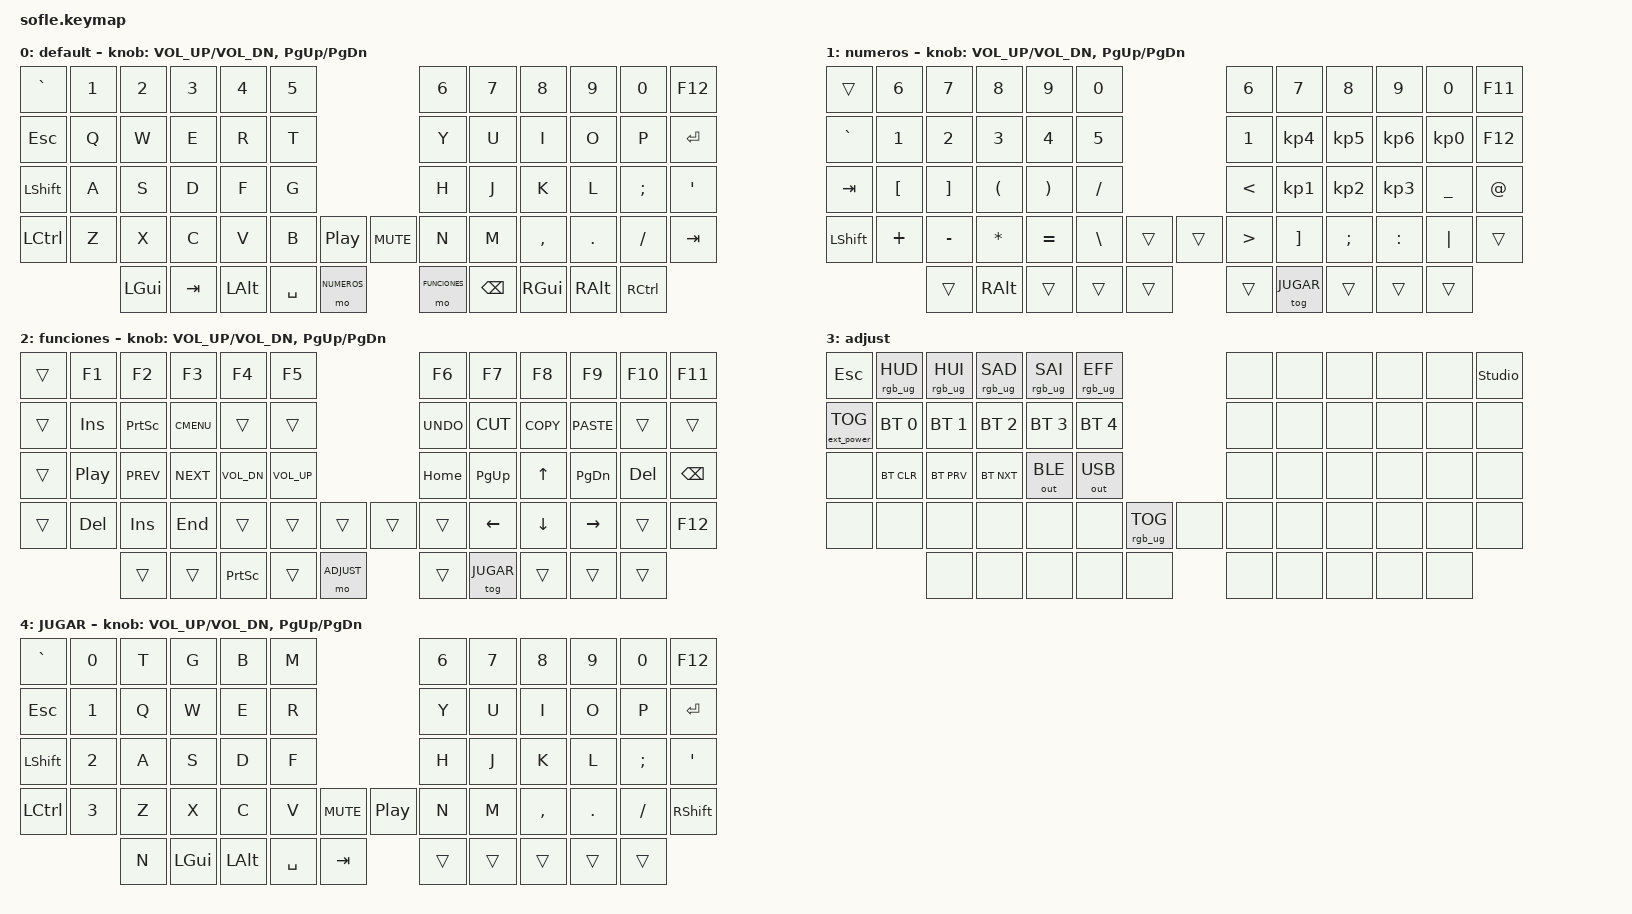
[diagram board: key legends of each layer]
/*
 * Copyright (c) 2020 The ZMK Contributors
 *
 * SPDX-License-Identifier: MIT
 */

#include <behaviors.dtsi>
#include <dt-bindings/zmk/keys.h>
#include <dt-bindings/zmk/bt.h>
#include <dt-bindings/zmk/rgb.h>
#include <dt-bindings/zmk/ext_power.h>
#include <dt-bindings/zmk/outputs.h>

#define BASE 0
#define NUMEROS 1
#define FUNCIONES 2
#define ADJUST 3
#define JUGAR 4

/ {

   // Activate ADJUST layer by pressing raise and lower
    conditional_layers {
        compatible = "zmk,conditional-layers";
        adjust_layer {
            if-layers = <NUMEROS FUNCIONES>;
            then-layer = <ADJUST>;
        };
    };

    keymap {
        compatible = "zmk,keymap";

        default_layer {
            display-name = "default";
// ------------------------------------------------------------------------------------------------------------
// | GRAVE |  1  |  2  |  3   |  4   |  5   |                   |  6   |  7    |  8    |  9   |   0   |  F12  |
// |  ESC  |  Q  |  W  |  E   |  R   |  T   |                   |  Y   |  U    |  I    |  O   |   P   |  RET  |
// | SHIFT |  A  |  S  |  D   |  F   |  G   |                   |  H   |  J    |  K    |  L   |   ;   |   '   |
// |  CTRL |  Z  |  X  |  C   |  V   |  B   |  MUTE  |  |       |  N   |  M    |  ,    |  .   |   /   |  TAB  |
//               | LGUI| TAB  | ALT  | SPACE|  RAISE |  | LOWER | BKSPC|  GUI  | ALT   | CTRL |
            bindings = <
&kp GRAVE  &kp N1 &kp N2   &kp N3   &kp N4    &kp N5                           &kp N6 &kp N7    &kp N8    &kp N9   &kp N0   &kp F12
&kp ESC    &kp Q  &kp W    &kp E    &kp R     &kp T                            &kp Y  &kp U     &kp I     &kp O    &kp P    &kp RET
&kp LSHFT  &kp A  &kp S    &kp D    &kp F     &kp G                            &kp H  &kp J     &kp K     &kp L    &kp SEMI &kp SQT
&kp LCTRL  &kp Z  &kp X    &kp C    &kp V     &kp B    &kp C_PP     &kp C_MUTE &kp N  &kp M     &kp COMMA &kp DOT  &kp FSLH &kp TAB
                  &kp LGUI &kp TAB &kp LALT &kp SPACE  &mo NUMEROS  &mo FUNCIONES  &kp BSPC  &kp RGUI &kp RALT  &kp RCTRL
            >;

            sensor-bindings = <&inc_dec_kp C_VOL_UP C_VOL_DN &inc_dec_kp PG_UP PG_DN>;
        };

        lower_layer {
            display-name = "numeros";
// TODO: Some binds are waiting for shifted keycode support.
// ------------------------------------------------------------------------------------------------------------
// |       |  F1 |  F2 |  F3  |  F4  |  F5  |                   |  F6  |  F7   |  F8   |  F9  |  F10  |  F11  |
// |   `   |  1  |  2  |  3   |  4   |  5   |                   |  6   |  7    |  8    |  9   |   0   |  F12  |
// |       |  !  |  @  |  #   |  $   |  %   |                   |  ^   |  &    |  *    |  (   |   )   |   |   |
// |       |  =  |  -  |  +   |  {   |  }   |        |  |       |  [   |  ]    |  ;    |  :   |   \   |       |
//               |     |      |      |      |        |  |       |      |       |       |      |
            bindings = <
&trans     &kp N6    &kp N7    &kp N8      &kp N9     &kp N0                    &kp N6    &kp N7    &kp N8    &kp N9    &kp N0    &kp F11
&kp GRAVE  &kp N1    &kp N2    &kp N3      &kp N4     &kp N5                    &kp N1    &kp KP_N4 &kp KP_N5 &kp KP_N6 &kp KP_N0 &kp F12
&kp TAB    &kp LBKT  &kp RBKT  &kp LPAR    &kp RPAR   &kp FSLH                  &kp LT    &kp KP_N1 &kp KP_N2 &kp KP_N3 &kp UNDER &kp AT
&kp LSHIFT &kp PLUS  &kp MINUS &kp ASTRK   &kp EQUAL  &kp BSLH   &trans &trans  &kp GT    &kp RBKT  &kp SEMI  &kp COLON &kp PIPE   &trans
                    &trans    &kp RALT     &trans     &trans     &trans &trans  &tog JUGAR    &trans   &trans    &trans
            >;

            sensor-bindings = <&inc_dec_kp C_VOL_UP C_VOL_DN &inc_dec_kp PG_UP PG_DN>;
        };

        raise_layer {
            display-name = "funciones";
// ------------------------------------------------------------------------------------------------------------
// | BTCLR | BT1  | BT2  |  BT3  |  BT4  |  BT5 |                |      |      |       |      |       |       |
// |       | INS  | PSCR | GUI   |       |      |                | PGUP |      |   ^   |      |       |       |
// |       | ALT  | CTRL | SHIFT |       | CAPS |                | PGDN |   <- |   v   |  ->  |  DEL  | BKSPC |
// |       | UNDO | CUT  | COPY  | PASTE |      |      |  |      |      |      |       |      |       |       |
//                |      |       |       |      |      |  |      |      |      |       |      |
            bindings = <
&trans     &kp F1       &kp F2       &kp F3       &kp F4       &kp F5                         &kp F6     &kp F7    &kp F8     &kp F9       &kp F10 &kp F11
&trans     &kp INS      &kp PSCRN    &kp K_CMENU  &trans       &trans                         &kp K_UNDO &kp K_CUT &kp K_COPY &kp K_PASTE  &trans  &trans
&trans     &kp C_PP     &kp C_PREV   &kp C_NEXT   &kp C_VOL_DN &kp C_VOL_UP                   &kp HOME   &kp PG_UP &kp UP     &kp PG_DN    &kp DEL &kp BSPC
&trans     &kp DELETE   &kp INSERT   &kp END      &trans       &trans        &trans           &trans  &trans     &kp LEFT  &kp DOWN   &kp RIGHT    &trans  &kp F12
                        &trans       &trans       &kp PSCRN    &trans        &mo ADJUST       &trans  &tog JUGAR &trans    &trans   &trans
            >;

            sensor-bindings = <&inc_dec_kp C_VOL_UP C_VOL_DN &inc_dec_kp PG_UP PG_DN>;
        };

        adjust_layer {
// ----------------------------------------------------------------------------------------------------------------------------
// | BTCLR  |  BT1    |  BT2    |   BT3   |   BT4   |   BT5   |                  |      |      |       |      |       |       |
// | EXTPWR | RGB_HUD | RGB_HUI | RGB_SAD | RGB_SAI | RGB_EFF |                  |      |      |       |      |       |       |
// |        | RGB_BRD | RGB_BRI |         |         |         |                  |      |      |       |      |       |       |
// |        |         |         |         |         |         | RGB_TOG | |      |      |      |       |      |       |       |
//                    |         |         |         |         |         | |      |      |      |       |      |
            display-name = "adjust";
            bindings = <
&kp ESC           &rgb_ug RGB_HUD &rgb_ug RGB_HUI &rgb_ug RGB_SAD &rgb_ug RGB_SAI &rgb_ug RGB_EFF                         &none &none &none &none &none &studio_unlock
&ext_power EP_TOG &bt BT_SEL 0    &bt BT_SEL 1    &bt BT_SEL 2    &bt BT_SEL 3    &bt BT_SEL 4                            &none &none &none &none &none &none
&none             &bt BT_CLR      &bt BT_PRV      &bt BT_NXT      &out OUT_BLE    &out OUT_USB                            &none &none &none &none &none &none
&none             &none           &none           &none           &none           &none            &rgb_ug RGB_TOG &none  &none &none &none &none &none &none
                                  &none           &none           &none           &none            &none           &none  &none &none &none &none
            >;
        };

        jugar_layer {
            display-name = "JUGAR";
// ------------------------------------------------------------------------------------------------------------
// | GRAVE |  1  |  2  |  3   |  4   |  5   |                   |  6   |  7    |  8    |  9   |   0   |       |
// |  ESC  |  Q  |  W  |  E   |  R   |  T   |                   |  Y   |  U    |  I    |  O   |   P   |  RET  |
// | SHIFT |  A  |  S  |  D   |  F   |  G   |                   |  H   |  J    |  K    |  L   |   ;   |   '   |
// | CTRL  |  Z  |  X  |  C   |  V   |  B   |  MUTE  |  |       |  N   |  M    |  ,    |  .   |   /   | SHIFT |
//               |  GM | LGUI | ALT  | SPACE|   TAB  |  | RAISE | BKSPC| CTRL  | ALT   | GUI  |
            bindings = <
&kp GRAVE &kp N0 &kp T  &kp G    &kp B     &kp M                            &kp N6 &kp N7    &kp N8    &kp N9   &kp N0   &kp F12
&kp ESC   &kp N1 &kp Q  &kp W    &kp E     &kp R                            &kp Y  &kp U     &kp I     &kp O    &kp P    &kp RET
&kp LSHFT &kp N2 &kp A  &kp S    &kp D     &kp F                            &kp H  &kp J     &kp K     &kp L    &kp SEMI &kp SQT
&kp LCTRL &kp N3 &kp Z  &kp X    &kp C     &kp V      &kp C_MUTE &kp C_PP   &kp N  &kp M     &kp COMMA &kp DOT  &kp FSLH &kp RSHFT
                 &kp N  &kp LGUI &kp LALT  &kp SPACE  &kp TAB    &trans &trans  &trans &trans  &trans
            >;

            sensor-bindings = <&inc_dec_kp C_VOL_UP C_VOL_DN &inc_dec_kp PG_UP PG_DN>;
        };

    };
};
